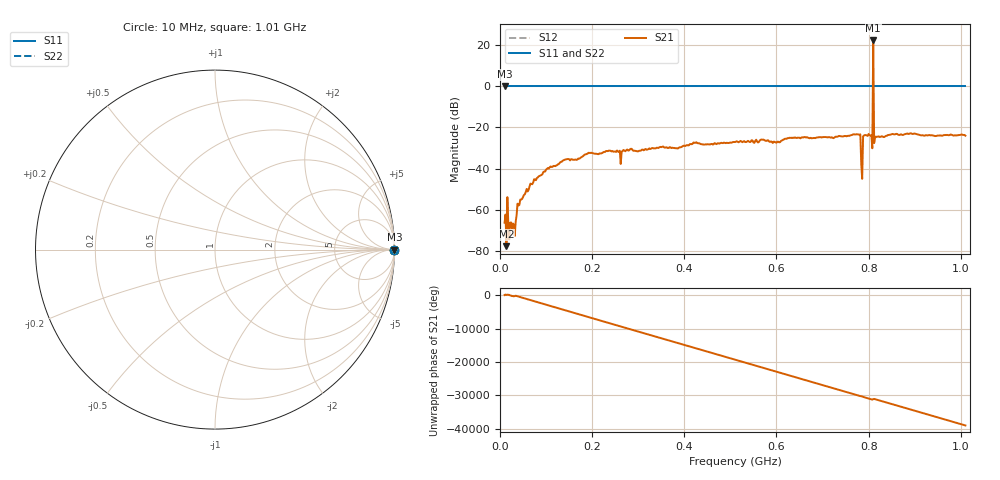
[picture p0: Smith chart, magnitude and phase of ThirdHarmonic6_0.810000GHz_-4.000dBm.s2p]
! 8/16/2025 2:57:52 AM
! C:\ANRITSUVNA\TEMP\TEMP.S2P
! CHANNEL.1
! TR.MEASUREMENT
! RAW.DATA
! RF.CORRECTION.OFF
! AVERAGING.OFF
! IF.BANDWIDTH: 5KHZ
! SWEEPTYPE:  FREQ.SWEEP(Linear)
! Reference Plane Port Info
! PORT:  PORT1  PORT2
! DISTANCE:  0  m  0  m
! TIME:  0  s  0  s
! PHASE.OFFSET:  0  deg.  0  deg.
! LOSS:  0  dB  0  dB
! REF.LOSS:  0  dB  0  dB
! REF.FREQ:  0  Hz  0  Hz
! Power Info
! POWER:  -20  dBm  -20  dBm
! EFF.POWER:  -20  dBm  -20  dBm
! SOURCE.ATTEN:  0  dB  0  dB
! TEST.ATTEN:  0  dB  0  dB
# GHZ S RI R 50.0
! FREQ.GHZ  S11RE  S11IM  S21RE  S21IM  S12RE  S12IM  S22RE  S22IM
!; PortSelection: Port_12
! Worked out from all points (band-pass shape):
!   501 points, 10 MHz to 1.01 GHz, reference 50 ohm
!   highest |S21| = 22.34 dB at 810 MHz (marker M1); lowest = -77.8 dB at 14 MHz (marker M2)
!   |S21| within 3 dB of the highest: 809.8857 MHz to 810.1202 MHz (234.5 kHz wide, 0.029 % of centre)
!   lowest |S11| = 0.0 dB at 10 MHz (marker M3)
!   |S11| at or under -10 dB: nowhere
!   |S22| runs from 0.0 to 0.0 dB; largest |S21 - S12| = 14
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0.01  1 0  -0.000322 0.00036  1 0  1 0
0.014  1 0  -9.38e-05 8.89e-05  1 0  1 0
0.022  1 0  0.00046 0.000141  1 0  1 0
0.03  1 0  -0.000112 0.000415  1 0  1 0
0.042  1 0  0.000903 -0.000934  1 0  1 0
0.07  1 0  -0.00226 -0.00349  1 0  1 0
0.1  1 0  -0.00361 0.00869  1 0  1 0
0.178  1 0  -0.0185 -0.00524  1 0  1 0
0.344  1 0  0.0312 -0.00561  1 0  1 0
0.51  1 0  -0.0422 0.0131  1 0  1 0
0.678  1 0  -0.0216 -0.0504  1 0  1 0
0.778  1 0  -0.0672 0.00257  1 0  1 0
0.782  1 0  0.0648 0.0196  1 0  1 0
0.788  1 0  -0.0435 0.0422  1 0  1 0
0.792  1 0  0.0585 -0.0289  1 0  1 0
0.804  1 0  -0.0552 -0.032  1 0  1 0
0.806  1 0  -0.0421 0.049  1 0  1 0
0.81  1 0  -12.98 -1.681  1 0  1 0
0.814  1 0  -0.0576 0.017  1 0  1 0
0.816  1 0  0.00378 0.0579  1 0  1 0
0.844  1 0  0.0442 0.0486  1 0  1 0
1.01  1 0  -0.0593 -0.0212  1 0  1 0
